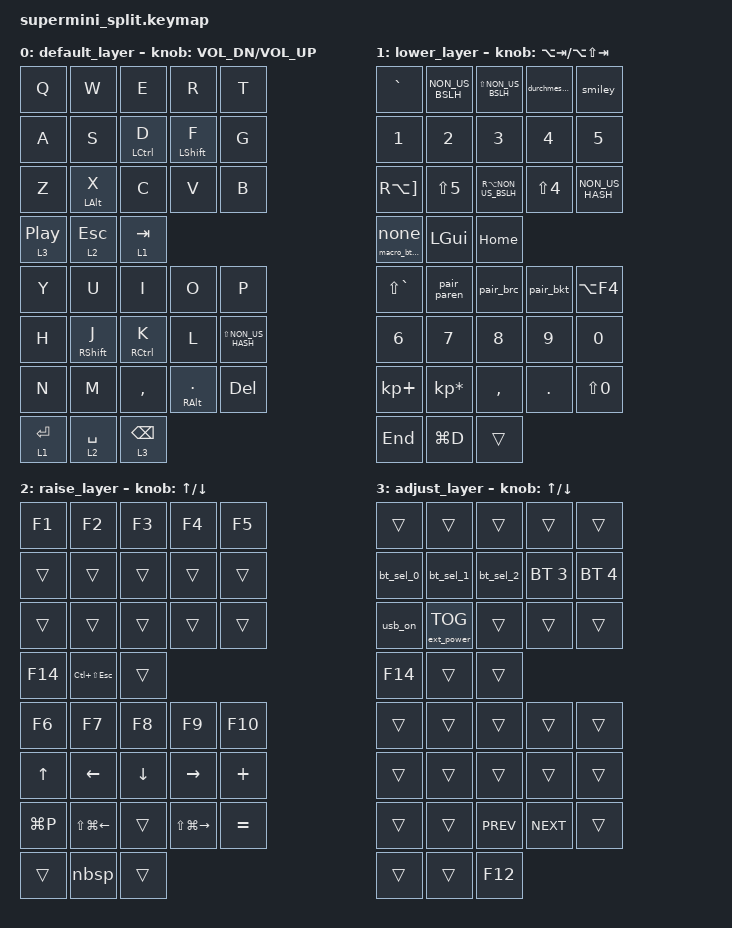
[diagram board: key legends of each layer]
/*
 * Supermini Split keymap — Corne keymap with outer pinky columns removed.
 *
 * Key position reference (36 positions total):
 *
 *   Left 5×3 (pos 0–14):
 *     0  1  2  3  4   ← top row  (Q  W  E  R  T)
 *     5  6  7  8  9   ← mid row  (A  S  D  F  G)
 *    10 11 12 13 14   ← bot row  (Z  X  C  V  B)
 *
 *   Left thumbs (pos 15–17):
 *    15 16 17
 *
 *   Right 5×3 (pos 18–32, peripheral offset +18):
 *    18 19 20 21 22   ← top row  (Y  U  I  O  P)
 *    23 24 25 26 27   ← mid row  (H  J  K  L  ö)
 *    28 29 30 31 32   ← bot row  (N  M  ,  .  DEL)
 *
 *   Right thumbs (pos 33–35):
 *    33 34 35
 *
 * Special functions via chord combos (special switches wired in parallel
 * to the common key AND the partner key):
 *   BT / USB  — common key T (pos 4):
 *     T+A(5)  = BT0
 *     T+S(6)  = BT1
 *     T+D(7)  = BT2
 *     T+F(8)  = USB
 *   5-way nav — common key Q (pos 0):
 *     Q+Z(10) = Nav Up
 *     Q+X(11) = Nav Down
 *     Q+C(12) = Nav Left
 *     Q+V(13) = Nav Right
 *     Q+B(14) = Nav OK
 */


#include <behaviors.dtsi>
#include <dt-bindings/zmk/keys.h>
#include <dt-bindings/zmk/bt.h>
#include <dt-bindings/zmk/ext_power.h>
#include <dt-bindings/zmk/outputs.h>

/ {
    macros {
        pair_paren: pair_paren {
            compatible = "zmk,behavior-macro";
            #binding-cells = <0>;
            wait-ms = <10>;
            tap-ms = <10>;
            bindings = <&kp LS(N8)>, <&kp LS(N9)>, <&kp LEFT>;
        };

        pair_brc: pair_brc {
            compatible = "zmk,behavior-macro";
            #binding-cells = <0>;
            wait-ms = <10>;
            tap-ms = <10>;
            bindings = <&kp RA(N7)>, <&kp RA(N0)>, <&kp LEFT>;
        };

        pair_bkt: pair_bkt {
            compatible = "zmk,behavior-macro";
            #binding-cells = <0>;
            wait-ms = <10>;
            tap-ms = <10>;
            bindings = <&kp RA(N8)>, <&kp RA(N9)>, <&kp LEFT>;
        };

        usb_on: usb_on {
            compatible = "zmk,behavior-macro";
            #binding-cells = <0>;
            bindings = <&out OUT_USB>;
        };

        bt_sel_0: bt_sel_0 {
            compatible = "zmk,behavior-macro";
            #binding-cells = <0>;
            bindings = <&out OUT_BLE>, <&bt BT_SEL 0>;
        };

        bt_sel_1: bt_sel_1 {
            compatible = "zmk,behavior-macro";
            #binding-cells = <0>;
            bindings = <&out OUT_BLE>, <&bt BT_SEL 1>;
        };

        bt_sel_2: bt_sel_2 {
            compatible = "zmk,behavior-macro";
            #binding-cells = <0>;
            bindings = <&out OUT_BLE>, <&bt BT_SEL 2>;
        };

        durchmesser: durchmesser {
            compatible = "zmk,behavior-macro";
            #binding-cells = <0>;
            bindings = <&macro_press &kp LALT>, <&macro_tap &kp KP_N0 &kp KP_N2 &kp KP_N4 &kp KP_N8>, <&macro_release &kp LALT>;
        };

        smiley: smiley {
            compatible = "zmk,behavior-macro";
            #binding-cells = <0>;
            wait-ms = <20>;
            tap-ms = <20>;
            bindings = <&macro_press &kp LSHFT>, <&macro_tap &kp COMMA>, <&macro_release &kp LSHFT>, <&macro_tap &kp SLASH>, <&macro_press &kp LSHFT>, <&macro_tap &kp N9>, <&macro_release &kp LSHFT>;
        };

        nbsp: nbsp {
            compatible = "zmk,behavior-macro";
            #binding-cells = <0>;
            wait-ms = <30>;
            tap-ms = <30>;
            bindings = <&macro_press &kp LALT>, <&macro_tap &kp KP_N0 &kp KP_N1 &kp KP_N6 &kp KP_N0>, <&macro_release &kp LALT>;
        };

        macro_bt_clr: macro_bt_clr {
            compatible = "zmk,behavior-macro";
            #binding-cells = <0>;
            bindings = <&bt BT_CLR>;
        };
        
        // Makro sendet den Befehl und "wartet" dann einfach, bis du loslässt
        m_pp: m_pp {
            compatible = "zmk,behavior-macro";
            #binding-cells = <0>;
            wait-ms = <0>;
            tap-ms = <10>;
            bindings = <&kp C_PP>; 
        };
        m_next: m_next {
            compatible = "zmk,behavior-macro";
            #binding-cells = <0>;
            bindings = <&kp C_NEXT>;
        };
        m_prev: m_prev {
            compatible = "zmk,behavior-macro";
            #binding-cells = <0>;
            bindings = <&kp C_PREV>;
        };
        // Makro für UP mit Wiederholung
        m_up: m_up {
            compatible = "zmk,behavior-macro";
            #binding-cells = <0>;
            wait-ms = <0>;
            tap-ms = <0>;
            bindings
                = <&macro_press &kp UP>
                , <&macro_pause_for_release>
                , <&macro_release &kp UP>;
        };
        // Makro für DOWN mit Wiederholung
        m_down: m_down {
            compatible = "zmk,behavior-macro";
            #binding-cells = <0>;
            wait-ms = <0>;
            tap-ms = <0>;
            bindings
                = <&macro_press &kp DOWN>
                , <&macro_pause_for_release>
                , <&macro_release &kp DOWN>;
        };
    };

    behaviors {
        caps_wrd: caps_wrd {
            compatible = "zmk,behavior-caps-word";
            #binding-cells = <0>;
            continue-list = <POUND BACKSPACE DEL MINUS UNDERSCORE>;
        };

        hrm_safe: hrm_safe {
            compatible = "zmk,behavior-hold-tap";
            #binding-cells = <2>;
            tapping-term-ms = <280>;
            quick-tap-ms = <175>;
            flavor = "balanced";
            require-prior-idle-ms = <150>;
            bindings = <&kp>, <&kp>;
            hold-trigger-on-release;
        };

        hrm_shift: hrm_shift {
            compatible = "zmk,behavior-hold-tap";
            #binding-cells = <2>;
            tapping-term-ms = <150>;
            quick-tap-ms = <100>;
            flavor = "balanced";
            bindings = <&kp>, <&kp>;
            hold-trigger-on-release;
        };

        lt_hp: lt_hp {
            compatible = "zmk,behavior-hold-tap";
            #binding-cells = <2>;
            tapping-term-ms = <200>;
            quick-tap-ms = <200>;
            flavor = "balanced";
            retro-tap;
            bindings = <&mo>, <&kp>;
        };

        enc_bt_clr: enc_bt_clr {
            compatible = "zmk,behavior-hold-tap";
            #binding-cells = <2>;
            tapping-term-ms = <5000>;
            flavor = "tap-preferred";
            bindings = <&macro_bt_clr>, <&none>;
        };

    };

    combos {
        compatible = "zmk,combos";

        /* Wir nutzen hier den Unterstrich bei key-positions, 
           da dies oft die Pydantic-Validierung im Drawer fixiert */

        combo_excl { timeout-ms = <40>; key-positions = <2 7>; bindings = <&kp LS(N1)>; layers = <0 1>; };
        combo_colon { timeout-ms = <50>; key-positions = <30 31>; bindings = <&kp LS(DOT)>; layers = <0 1>; };
        combo_creo_mod { timeout-ms = <50>; key-positions = <11 12>; bindings = <&kp LC(LALT)>; layers = <0 1>; };
        combo_backslash { timeout-ms = <40>; key-positions = <25 26>; bindings = <&kp RA(MINUS)>; layers = <0 1>; };
        combo_slash { timeout-ms = <40>; key-positions = <6 7>; bindings = <&kp KP_DIVIDE>; layers = <0 1>; };
        combo_minus { timeout-ms = <50>; key-positions = <26 27>; bindings = <&kp SLASH>; layers = <0 1>; };
        combo_underscore { timeout-ms = <40>; key-positions = <5 6>; bindings = <&kp LS(SLASH)>; layers = <0 1>; };
        combo_caps_word { timeout-ms = <40>; key-positions = <8 24>; bindings = <&caps_wrd>; layers = <0>; };
        combo_quote { timeout-ms = <50>; key-positions = <7 8>; bindings = <&kp LS(N2)>; layers = <0 1>; };
        combo_question { timeout-ms = <50>; key-positions = <24 25>; bindings = <&kp LS(MINUS)>; layers = <0 1>; };
        combo_ae { timeout-ms = <55>; key-positions = <0 5>; bindings = <&kp SQT>; layers = <0>; };
        combo_oe { timeout-ms = <50>; key-positions = <21 26>; bindings = <&kp SEMI>; layers = <0>; };
        combo_ue { timeout-ms = <50>; key-positions = <19 24>; bindings = <&kp LBKT>; layers = <0>; };
        combo_ss { timeout-ms = <50>; key-positions = <1 6>; bindings = <&kp MINUS>; layers = <0>; };

        // Special Hardware Switches
        combo_bt0 { timeout-ms = <30>; key-positions = <4 5>; bindings = <&bt_sel_0>; };
        combo_bt1 { timeout-ms = <30>; key-positions = <4 6>; bindings = <&bt_sel_1>; };
        combo_bt2 { timeout-ms = <30>; key-positions = <4 7>; bindings = <&bt_sel_2>; };
        combo_usb { timeout-ms = <30>; key-positions = <4 8>; bindings = <&usb_on>; };
        combo_up    { timeout-ms = <40>; key-positions = <0 11 14>; bindings = <&kp UP>; };
        combo_down  { timeout-ms = <40>; key-positions = <0 10 14>; bindings = <&kp DOWN>; };
        combo_prev  { timeout-ms = <40>; key-positions = <0 12 14>; bindings = <&m_prev>; };
        combo_next  { timeout-ms = <40>; key-positions = <0 13 14>; bindings = <&m_next>; };
        combo_pp    { timeout-ms = <40>; key-positions = <0 14>;    bindings = <&m_pp>; };    };

    keymap {
        compatible = "zmk,keymap";

        /*
         * Each layer has exactly 36 bindings in this position order:
         *   Pos  0– 4 : left top    (alpha)     Pos 18–22 : right top    (alpha)
         *   Pos  5– 9 : left mid    (alpha)     Pos 23–27 : right mid    (alpha)
         *   Pos 10–14 : left bot    (alpha)     Pos 28–32 : right bot    (alpha)
         *   Pos 15–17 : left thumbs             Pos 33–35 : right thumbs
         */
        default_layer {
            sensor-bindings = <&inc_dec_kp C_VOL_DN C_VOL_UP>;
            bindings = <
/* left top  */   &kp Q          &kp W             &kp E              &kp R                &kp T
/* left mid  */   &kp A          &kp S             &hrm_safe LCTRL D  &hrm_shift LSHIFT F  &kp G
/* left bot  */   &kp Z          &hrm_safe LALT X  &kp C              &kp V                &kp B
/* left tmb  */   &lt_hp 3 C_PP  &lt 2 ESC         &lt 1 TAB
/* right top */   &kp Y          &kp U             &kp I              &kp O                &kp P
/* right mid */   &kp H          &hrm_shift RSHIFT J  &hrm_safe RCTRL K  &kp L            &kp LS(NON_US_HASH)
/* right bot */   &kp N          &kp M             &kp COMMA          &hrm_safe RALT DOT   &kp DEL
/* right tmb */   &lt 1 RET      &lt_hp 2 SPACE    &lt_hp 3 BSPC
            >;
        };

        lower_layer {
            sensor-bindings = <&inc_dec_kp LA(TAB) LA(LS(TAB))>;
            bindings = <
/* left top  */   &kp GRAVE      &kp NON_US_BSLH   &kp LS(NON_US_BSLH)  &durchmesser   &smiley
/* left mid  */   &kp N1         &kp N2            &kp N3               &kp N4         &kp N5
/* left bot  */   &kp RA(RBKT)   &kp LS(N5)        &kp RA(NON_US_BSLH)  &kp LS(N4)     &kp NON_US_HASH
/* left tmb  */   &enc_bt_clr 0 0  &kp LGUI        &kp HOME
/* right top */   &kp LS(GRAVE)  &pair_paren       &pair_brc            &pair_bkt       &kp LA(F4)
/* right mid */   &kp N6         &kp N7            &kp N8               &kp N9          &kp N0
/* right bot */   &kp KP_PLUS    &kp KP_MULTIPLY   &kp COMMA            &kp DOT         &kp LS(N0)
/* right tmb */   &kp END        &kp LG(D)         &trans
            >;
        };

        raise_layer {
            sensor-bindings = <&inc_dec_kp UP DOWN>;
            bindings = <
/* left top  */   &kp F1         &kp F2            &kp F3               &kp F4             &kp F5
/* left mid  */   &trans         &trans            &trans               &trans             &trans
/* left bot  */   &trans         &trans            &trans               &trans             &trans
/* left tmb  */   &kp F14        &kp LC(LS(ESC))   &trans
/* right top */   &kp F6         &kp F7            &kp F8               &kp F9             &kp F10
/* right mid */   &kp UP         &kp LEFT          &kp DOWN             &kp RIGHT          &kp PLUS
/* right bot */   &kp LG(P)      &kp LS(LG(LEFT))  &trans               &kp LS(LG(RIGHT))  &kp EQUAL
/* right tmb */   &trans         &nbsp             &trans
            >;
        };

        adjust_layer {
            sensor-bindings = <&inc_dec_kp UP DOWN>;
            bindings = <
/* left top  */   &trans         &trans            &trans               &trans          &trans
/* left mid  */   &bt_sel_0      &bt_sel_1         &bt_sel_2            &bt BT_SEL 3    &bt BT_SEL 4
/* left bot  */   &usb_on        &ext_power EP_TOG &trans               &trans          &trans
/* left tmb  */   &kp F14        &trans            &trans
/* right top */   &trans         &trans            &trans               &trans          &trans
/* right mid */   &trans         &trans            &trans               &trans          &trans
/* right bot */   &trans         &trans            &kp C_PREV           &kp C_NEXT      &trans
/* right tmb */   &trans         &trans            &kp F12
            >;
        };
    };
};
